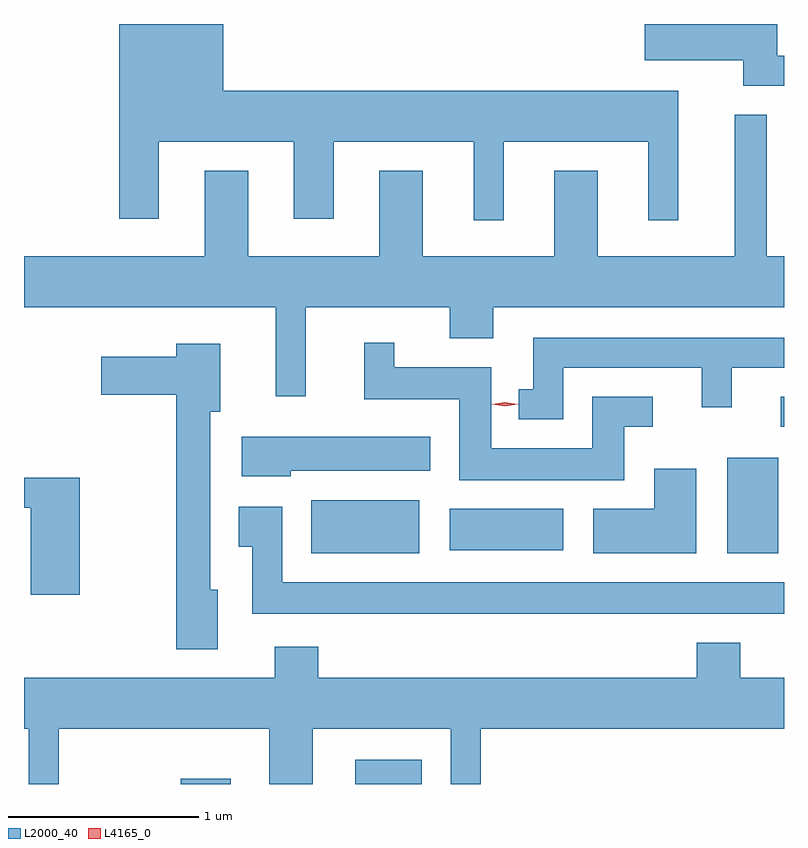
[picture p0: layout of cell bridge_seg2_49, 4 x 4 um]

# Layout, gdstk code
import gdstk
lib = gdstk.Library(unit=1e-6, precision=1e-09)
def R(c, l, rs):  # rectangles x0, y0, x1, y1
    for r in rs: c.add(gdstk.rectangle(r[:2], r[2:], *l))
def P(c, l, *ps):  # polygons
    for p in ps: c.add(gdstk.Polygon(p, *l))
L2000_40 = (2000, 40)
L4165_0 = (4165, 0)

bridge_seg2_49 = lib.new_cell('bridge_seg2_49')
R(bridge_seg2_49, L2000_40, [(1405.606,1054.686,1405.869,1054.714), (1406.523,1054.686,1406.874,1054.814), (1406.291,1055.901,1406.859,1056.179), (1408.481,1055.901,1408.749,1056.404), (1407.021,1055.916,1407.619,1056.134), (1408.763,1056.566,1408.78,1056.724)])
P(bridge_seg2_49, L2000_40, [(1408.78,1058.519),(1408.744,1058.519),(1408.744,1058.686),(1408.046,1058.686),(1408.046,1058.496),(1408.566,1058.496),(1408.566,1058.361),(1408.78,1058.361)],
  [(1407.304,1058.066),(1408.066,1058.066),(1408.066,1057.653),(1408.224,1057.653),(1408.224,1058.334),(1405.829,1058.334),(1405.829,1058.686),(1405.281,1058.686),(1405.281,1057.661),(1405.489,1057.661),(1405.489,1058.066),(1406.201,1058.066),(1406.201,1057.661),(1406.409,1057.661),(1406.409,1058.066),(1407.146,1058.066),(1407.146,1057.653),(1407.304,1057.653)],
  [(1406.264,1057.196),(1407.021,1057.196),(1407.021,1057.031),(1407.249,1057.031),(1407.249,1057.196),(1408.78,1057.196),(1408.78,1057.464),(1408.689,1057.464),(1408.689,1058.208),(1408.521,1058.208),(1408.521,1057.464),(1407.799,1057.464),(1407.799,1057.914),(1407.571,1057.914),(1407.571,1057.464),(1406.879,1057.464),(1406.879,1057.914),(1406.651,1057.914),(1406.651,1057.464),(1405.959,1057.464),(1405.959,1057.914),(1405.731,1057.914),(1405.731,1057.464),(1404.78,1057.464),(1404.78,1057.196),(1406.106,1057.196),(1406.106,1056.728),(1406.264,1056.728)],
  [(1407.619,1056.876),(1408.346,1056.876),(1408.346,1056.668),(1408.504,1056.668),(1408.504,1056.876),(1408.78,1056.876),(1408.78,1057.034),(1407.461,1057.034),(1407.461,1056.764),(1407.383,1056.764),(1407.383,1056.606),(1407.619,1056.606)],
  [(1407.939,1056.566),(1408.088,1056.566),(1408.088,1056.724),(1407.771,1056.724),(1407.771,1056.454),(1407.239,1056.454),(1407.239,1056.879),(1406.729,1056.879),(1406.729,1057.008),(1406.571,1057.008),(1406.571,1056.711),(1407.071,1056.711),(1407.071,1056.286),(1407.939,1056.286)],
  [(1405.799,1055.709),(1405.759,1055.709),(1405.759,1056.646),(1405.814,1056.646),(1405.814,1057.004),(1405.581,1057.004),(1405.581,1056.934),(1405.186,1056.934),(1405.186,1056.736),(1405.581,1056.736),(1405.581,1055.396),(1405.799,1055.396)],
  [(1406.184,1056.336),(1406.919,1056.336),(1406.919,1056.514),(1405.926,1056.514),(1405.926,1056.306),(1406.184,1056.306)],
  [(1408.319,1056.344),(1408.096,1056.344),(1408.096,1056.134),(1407.776,1056.134),(1407.776,1055.901),(1408.319,1055.901)],
  [(1405.074,1056.299),(1404.78,1056.299),(1404.78,1056.141),(1404.816,1056.141),(1404.816,1055.681),(1405.074,1055.681)],
  [(1408.78,1055.749),(1406.139,1055.749),(1406.139,1056.144),(1405.911,1056.144),(1405.911,1055.936),(1405.981,1055.936),(1405.981,1055.581),(1408.78,1055.581)],
  [(1404.964,1054.976),(1406.071,1054.976),(1406.071,1054.686),(1406.299,1054.686),(1406.299,1054.976),(1407.026,1054.976),(1407.026,1054.686),(1407.184,1054.686),(1407.184,1054.976),(1408.78,1054.976),(1408.78,1055.244),(1408.549,1055.244),(1408.549,1055.429),(1408.321,1055.429),(1408.321,1055.244),(1406.329,1055.244),(1406.329,1055.409),(1406.101,1055.409),(1406.101,1055.244),(1404.78,1055.244),(1404.78,1054.976),(1404.806,1054.976),(1404.806,1054.686),(1404.964,1054.686)])
P(bridge_seg2_49, L4165_0, [(1407.311,1056.675),(1407.242,1056.684),(1407.242,1056.684),(1407.242,1056.685),(1407.311,1056.694),(1407.381,1056.686),(1407.381,1056.685),(1407.381,1056.684)])

lib.write_gds('bridge_seg2_49.gds')
